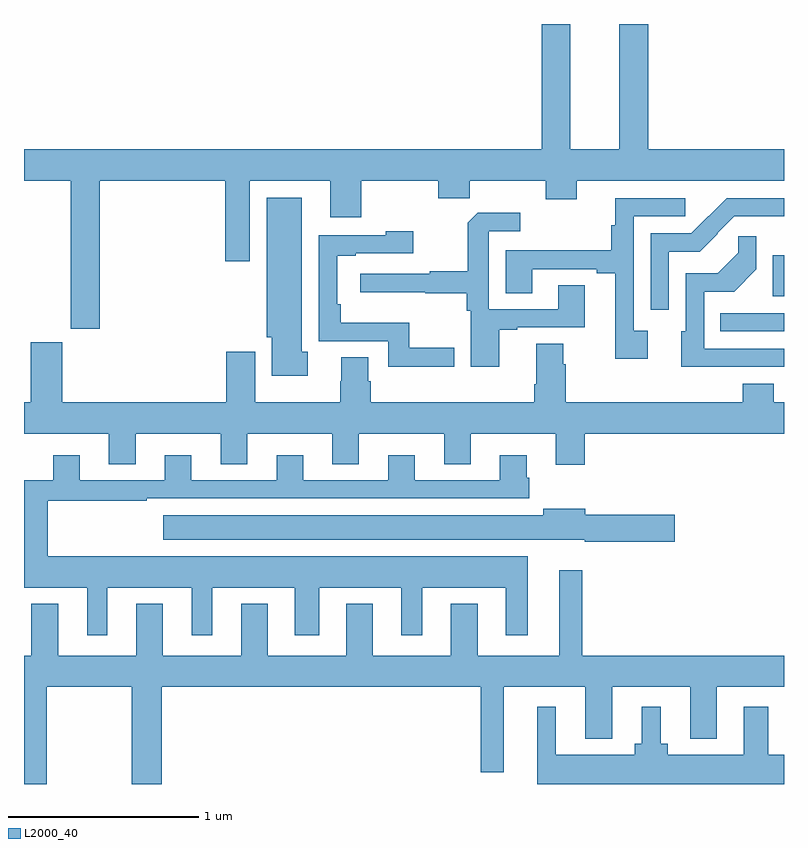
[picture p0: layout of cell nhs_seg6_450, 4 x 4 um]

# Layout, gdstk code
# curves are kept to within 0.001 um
import gdstk
lib = gdstk.Library(unit=1e-6, precision=1e-09)
def R(c, l, rs):  # rectangles x0, y0, x1, y1
    for r in rs: c.add(gdstk.rectangle(r[:2], r[2:], *l))
def P(c, l, *ps):  # polygons
    for p in ps: c.add(gdstk.Polygon(p, *l))
L2000_40 = (2000, 40)

nhs_seg6_450 = lib.new_cell('nhs_seg6_450')
R(nhs_seg6_450, L2000_40, [(140.665,939.882,141,939.978), (140.942,940.067,141,940.282)])
P(nhs_seg6_450, L2000_40, [(137.399,940.676),(138.059,940.676),(138.059,940.251),(138.187,940.251),(138.187,940.676),(138.611,940.676),(138.611,940.482),(138.775,940.482),(138.775,940.676),(139.181,940.676),(139.181,940.583),(139.345,940.583),(139.345,940.676),(139.745,940.676),(139.745,940.577),(139.909,940.577),(139.909,940.676),(141,940.676),(141,940.84),(140.285,940.84),(140.285,941.5),(140.132,941.5),(140.132,940.84),(139.876,940.84),(139.876,941.5),(139.724,941.5),(139.724,940.84),(137,940.84),(137,940.676),(137.246,940.676),(137.246,939.897),(137.399,939.897)],
  [(138.493,939.776),(138.463,939.776),(138.463,940.585),(138.278,940.585),(138.278,939.852),(138.305,939.852),(138.305,939.65),(138.493,939.65)],
  [(140.284,939.886),(140.208,939.886),(140.208,940.488),(140.481,940.488),(140.481,940.584),(140.111,940.584),(140.111,940.442),(140.092,940.442),(140.092,940.31),(139.535,940.31),(139.535,940.084),(139.675,940.084),(139.675,940.209),(140.015,940.209),(140.015,940.189),(140.111,940.189),(140.111,939.738),(140.284,939.738)],
  [(140.394,940.302),(140.557,940.302),(140.651,940.396),(140.649,940.398),(140.739,940.488),(141,940.487),(141,940.584),(140.699,940.584),(140.511,940.398),(140.298,940.398),(140.298,939.996),(140.394,939.996)],
  [(139.501,939.891),(139.597,939.891),(139.597,939.903),(139.951,939.903),(139.951,940.124),(139.811,940.124),(139.811,939.999),(139.446,939.999),(139.446,940.41),(139.612,940.41),(139.612,940.507),(139.387,940.507),(139.335,940.455),(139.335,940.198),(139.135,940.198),(139.135,940.185),(138.771,940.185),(138.771,940.088),(139.111,940.088),(139.111,940.084),(139.33,940.084),(139.33,939.992),(139.35,939.992),(139.35,939.696),(139.501,939.696)],
  [(139.264,939.797),(139.027,939.797),(139.027,939.928),(138.668,939.928),(138.668,940.024),(138.648,940.024),(138.648,940.281),(138.745,940.281),(138.745,940.293),(139.048,940.293),(139.048,940.408),(138.903,940.408),(138.903,940.389),(138.552,940.389),(138.552,939.831),(138.918,939.831),(138.918,939.695),(139.264,939.695)],
  [(140.677,939.696),(141,939.696),(141,939.792),(140.58,939.792),(140.58,940.092),(140.737,940.092),(140.853,940.208),(140.853,940.384),(140.758,940.384),(140.758,940.296),(140.65,940.188),(140.484,940.188),(140.484,939.882),(140.459,939.882),(140.459,939.695)],
  [(139.952,939.344),(141,939.344),(141,939.508),(140.947,939.508),(140.947,939.607),(140.783,939.607),(140.783,939.508),(139.85,939.508),(139.85,939.71),(139.837,939.71),(139.837,939.818),(139.697,939.818),(139.697,939.604),(139.685,939.604),(139.685,939.508),(138.824,939.508),(138.824,939.621),(138.811,939.621),(138.811,939.746),(138.671,939.746),(138.671,939.621),(138.664,939.621),(138.664,939.508),(138.217,939.508),(138.217,939.775),(138.065,939.775),(138.065,939.508),(137.2,939.508),(137.2,939.825),(137.036,939.825),(137.036,939.508),(137,939.508),(137,939.344),(137.447,939.344),(137.447,939.184),(137.587,939.184),(137.587,939.344),(138.035,939.344),(138.035,939.184),(138.175,939.184),(138.175,939.344),(138.623,939.344),(138.623,939.184),(138.763,939.184),(138.763,939.344),(139.211,939.344),(139.211,939.184),(139.351,939.184),(139.351,939.344),(139.799,939.344),(139.799,939.18),(139.952,939.18)],
  [(137.437,938.534),(137.882,938.534),(137.882,938.283),(137.992,938.283),(137.992,938.534),(138.425,938.534),(138.425,938.283),(138.553,938.283),(138.553,938.534),(138.986,938.534),(138.986,938.283),(139.096,938.283),(139.096,938.534),(139.535,938.534),(139.535,938.283),(139.651,938.283),(139.651,938.698),(137.125,938.698),(137.125,938.991),(137.645,938.991),(137.645,939.003),(139.658,939.003),(139.658,939.111),(139.645,939.111),(139.645,939.229),(139.505,939.229),(139.505,939.099),(139.057,939.099),(139.057,939.229),(138.917,939.229),(138.917,939.099),(138.469,939.099),(138.469,939.229),(138.329,939.229),(138.329,939.099),(137.881,939.099),(137.881,939.229),(137.741,939.229),(137.741,939.099),(137.293,939.099),(137.293,939.229),(137.153,939.229),(137.153,939.1),(137,939.1),(137,938.534),(137.333,938.534),(137.333,938.283),(137.437,938.283)],
  [(140.425,938.916),(139.954,938.916),(139.954,938.95),(139.733,938.95),(139.733,938.914),(137.733,938.914),(137.733,938.786),(139.95,938.786),(139.95,938.774),(140.425,938.774)],
  [(137.039,938.176),(137,938.176),(137,937.5),(137.121,937.5),(137.121,938.012),(137.566,938.012),(137.566,937.5),(137.726,937.5),(137.726,938.012),(139.404,938.012),(139.404,937.563),(139.525,937.563),(139.525,938.012),(139.955,938.012),(139.955,937.739),(140.095,937.739),(140.095,938.012),(140.507,938.012),(140.507,937.739),(140.647,937.739),(140.647,938.012),(141,938.012),(141,938.176),(139.939,938.176),(139.939,938.626),(139.817,938.626),(139.817,938.176),(139.387,938.176),(139.387,938.449),(139.247,938.449),(139.247,938.176),(138.835,938.176),(138.835,938.449),(138.695,938.449),(138.695,938.176),(138.283,938.176),(138.283,938.449),(138.143,938.449),(138.143,938.176),(137.731,938.176),(137.731,938.449),(137.591,938.449),(137.591,938.176),(137.179,938.176),(137.179,938.449),(137.039,938.449)],
  [(141,937.654),(140.917,937.654),(140.917,937.906),(140.789,937.906),(140.789,937.654),(140.388,937.654),(140.388,937.711),(140.35,937.711),(140.35,937.906),(140.252,937.906),(140.252,937.711),(140.215,937.711),(140.215,937.654),(139.798,937.654),(139.798,937.906),(139.7,937.906),(139.7,937.5),(141,937.5)])

lib.write_gds('nhs_seg6_450.gds')
